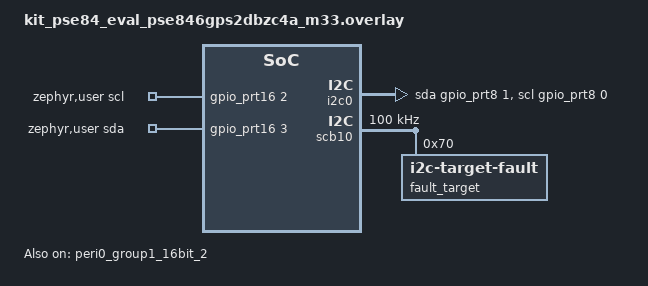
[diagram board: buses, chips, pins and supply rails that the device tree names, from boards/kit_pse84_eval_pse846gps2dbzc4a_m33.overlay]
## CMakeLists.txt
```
# SPDX-FileCopyrightText: Copyright The Zephyr Project Contributors
# SPDX-License-Identifier: Apache-2.0

cmake_minimum_required(VERSION 3.28.0)

find_package(Zephyr REQUIRED HINTS $ENV{ZEPHYR_BASE})
project(i2c_fault_injection)

target_sources(app PRIVATE
  src/bus_force.c
  src/i2c_timing.c
  src/main.c
  src/test_addr.c
  src/test_api_misuse.c
  src/test_arbitration.c
  src/test_data.c
  src/test_integrity.c
  src/test_liveness.c
  src/test_recovery.c
  src/test_stretch.c
  src/test_timing.c
)
```

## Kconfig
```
# SPDX-FileCopyrightText: Copyright The Zephyr Project Contributors
# SPDX-License-Identifier: Apache-2.0

mainmenu "I2C fault injection test"

config I2C_FAULT_TEST_ABSENT_ADDR
	hex "7-bit address that nothing on the bus answers"
	default 0x00
	range 0x00 0x77
	help
	  Address the address-phase conditions transfer to. The default of
	  0x00 is a sentinel meaning "discover one at run time", which scans
	  0x08 through 0x77 and takes the first address that does not answer.

	  Set a value to pin the address instead, which is useful where
	  probing would disturb a device on the bus or where the startup time
	  of the scan matters. Whichever source supplies it, the suite
	  verifies the address is silent before trusting it and fails setup
	  naming it if it answers.

	  This is deliberately not a devicetree property. Devicetree
	  describes what is present on a bus, and this is by definition what
	  is absent.

config I2C_FAULT_TEST_PRESENT_ADDR
	hex "7-bit address used for the known-good transfers"
	default 0x00
	range 0x00 0x77
	help
	  Address the suite transfers to when it needs to show that the bus
	  still works. The default of 0x00 means "discover one at run time",
	  which prefers the fault target where one is present and otherwise
	  takes the first address that answers.

	  Only the zero-length probe is ever sent to a discovered address, so
	  an unknown device on the bus is not written to.

config I2C_FAULT_TEST_ABSENT_ADDR_10BIT
	hex "10-bit address that nothing on the bus answers"
	default 0x2AA
	range 0x000 0x3FF
	help
	  Address used by the 10-bit addressing condition. The 10-bit space
	  is effectively unpopulated in practice, so a fixed default is
	  defensible here; it is validated by the same probe before use.

config I2C_FAULT_TEST_BUS_FAULT_WIRED
	bool "The line-forcing GPIOs are physically jumpered to the bus"
	help
	  Declares that the pins named by sda-gpios and scl-gpios under the
	  zephyr,user node are wired to the controller's own SDA and SCL
	  nets. Set by the twister scenario carrying the i2c_bus_fault
	  fixture.

	  A devicetree property says which pins would be used, not that a
	  jumper is fitted. Without this the hang, recovery and clock-hold
	  conditions skip, because running them against disconnected pins
	  produces failures indistinguishable from driver defects.

config I2C_FAULT_TEST_MAX_BUS_TIMEOUTS
	int "Consecutive transfer timeouts before the bus is judged broken"
	default 3
	range 1 100
	help
	  A NACK is an answer and costs nothing. A timeout means the transfer
	  never completed, which is a wiring or bus fault rather than a
	  property of the address, and each one costs
	  CONFIG_I2C_TRANSFER_TIMEOUT_MS.

	  After this many in a row the suite stops probing and skips the
	  remaining conditions, rather than spending that timeout on every
	  address and every test and reporting results that cannot mean
	  anything.

config I2C_FAULT_TEST_RELAXED_ERRNO
	bool "Accept any negative errno from a failed transfer"
	help
	  The I2C API documents -EIO for a failed transfer and the existing
	  upstream suites assert that exact value, so it is what this suite
	  requires by default. Enable this to accept any negative value
	  instead, which is useful when bringing up a driver that is not yet
	  conformant. In both modes the value each driver returned is logged
	  per fault class.

config I2C_FAULT_TEST_TIMING_ASSERT
	bool "Fail the run on a timing measurement outside its bounds"
	help
	  Timing measurements are diagnostic by default: they are printed
	  with their expected range and a value outside it is marked in the
	  log but does not fail the run. Enable this to turn them into
	  assertions, which is appropriate when characterising one known
	  board rather than running across many.

config I2C_FAULT_TEST_UNSAFE_API_MISUSE
	bool "Run the API misuse conditions that may fault the CPU"
	help
	  Enables the condition that passes a NULL buffer with a non-zero
	  length. Outside userspace the I2C API performs no validation on
	  that path, so a driver is free to dereference the pointer or hand
	  it to a DMA engine, which can fault the CPU and end the run rather
	  than report a result. Off by default for that reason.

config I2C_FAULT_TEST_TIMEOUT_MS
	int "Upper bound in milliseconds for a single faulted transfer"
	default 2000
	range 100 30000
	help
	  A transfer that meets a fault must still return within this bound.
	  Transfers run on a worker thread that the test thread waits on with
	  this timeout, so a driver that never returns is reported as a hang
	  rather than exhausting the twister timeout, which is
	  indistinguishable from a build or flash problem.

config I2C_FAULT_TEST_WORKER_STACK_SIZE
	int "Stack size in bytes for the bounded-transfer worker thread"
	default 2048
	range 512 8192
	help
	  Stack for the thread that faulted transfers run on. It calls
	  nothing deeper than the I2C driver, so the default is generous for
	  most platforms.

config I2C_FAULT_TEST_PAYLOAD_LEN
	int "Bytes transferred by the data-phase conditions"
	default 8
	range 4 64
	help
	  Length of the transfers the data-phase conditions use. It must be
	  at least four so that a fault can be placed at the first byte, at a
	  middle byte and at the last byte and land on three distinct
	  positions. It must not exceed the size of the fault target buffer.

config I2C_FAULT_TEST_LONG_PAYLOAD_LEN
	int "Bytes transferred by the timing and contention conditions"
	default 32
	range 8 256
	help
	  Length of the transfers used to measure the bus rate and to hold
	  the bus long enough for a second controller to attempt one of its
	  own. Longer is more accurate for the timing measurements and gives
	  a wider contention window, at the cost of run time.

config I2C_FAULT_TEST_REPEAT_COUNT
	int "Attempts made by the repeated-fault conditions"
	default 5
	range 2 100
	help
	  Number of times a fault is repeated when checking that a driver
	  does not latch state from the first failure.

config I2C_FAULT_TEST_CONTENTION_ROUNDS
	int "Rounds run by the two-controller contention condition"
	default 100
	range 10 1000
	help
	  Number of times two controllers are released onto the bus together
	  to contend for it. Rounds where the two happen to run one after the
	  other produce no arbitration, so more rounds raise the number that
	  do.

config I2C_FAULT_TEST_STRESS_CYCLES
	int "Fault-and-recover cycles run by the stress condition"
	default 20
	range 2 500
	help
	  Number of fault-and-recover cycles performed while checking that
	  the driver's state does not degrade. One fault leaves little
	  behind; the failures worth catching accumulate.

config I2C_FAULT_TEST_STRETCH_SHORT_US
	int "Clock stretch every driver is expected to tolerate"
	default 200
	range 10 10000
	help
	  Span the fault target holds SCL for in the conditions that must
	  succeed. It is long enough to be measurable against a 100 kHz bus
	  and short enough that no plausible driver times out on it.

config I2C_FAULT_TEST_STRETCH_LONG_US
	int "Clock stretch approaching a typical driver timeout"
	default 5000
	range 100 100000
	help
	  Span used by the condition that sits near the boundary. No outcome
	  is required of it, because drivers set their timeouts differently.

config I2C_FAULT_TEST_STRETCH_EXCESSIVE_US
	int "Clock stretch beyond any plausible driver timeout"
	default 50000
	range 1000 500000
	help
	  Span used by the condition that must produce a bounded error rather
	  than a hang. The stretch is applied by holding SCL through a GPIO
	  and released by a timer, so a long value costs run time but does not
	  occupy the CPU.

config I2C_FAULT_TEST_HOLD_MS
	int "Milliseconds a bus line is held low by the GPIO conditions"
	default 20
	range 1 1000
	help
	  How long SDA or SCL is pulled down through the forcing GPIOs. This
	  is a millisecond-scale operation with no timing requirement: the
	  bus is open drain, so the low wins whatever the controller drives.

config I2C_FAULT_TEST_SCOPE_PAUSE
	bool "Wait for a console keypress before the instrumented conditions"
	select CONSOLE_SUBSYS
	help
	  Halt the run at the start of selected conditions and wait for a
	  character on the console. The condition then runs to completion;
	  there is no second pause.

	  This exists so an oscilloscope can be armed for a single-shot
	  capture at a known point. While the suite waits, no thread is
	  driving the bus, so the first edge after the keypress is the event
	  under investigation and an ordinary edge trigger is unambiguous.
	  Without the pause, the same trigger fires on any of the hundreds of
	  legitimate transfers the run performs first.

	  CONSOLE_GETCHAR must be enabled alongside this symbol. It belongs to
	  an optional choice, which cannot be selected from here, so the two
	  are set together by the scope_pause.conf fragment in this directory.
	  Enabling this symbol without it fails the build rather than silently
	  running without a pause.

	  This makes the suite interactive, so it must not be enabled for an
	  automated run. It is off by default and no scenario in tests.yaml
	  turns it on.

source "Kconfig.zephyr"
```

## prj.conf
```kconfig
CONFIG_ZTEST=y
CONFIG_I2C=y
CONFIG_GPIO=y
CONFIG_I2C_TARGET=y
CONFIG_LOG=y
CONFIG_I2C_LOG_LEVEL_WRN=y
```

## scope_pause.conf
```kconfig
# SPDX-FileCopyrightText: Copyright The Zephyr Project Contributors
# SPDX-License-Identifier: Apache-2.0

# Pause the run at selected conditions so an instrument can be armed for a
# single-shot capture. Build with:
#
#   west build -b <board> tests/drivers/i2c/i2c_fault_injection \
#           -- -DEXTRA_CONF_FILE=scope_pause.conf
#
# CONSOLE_GETCHAR belongs to an optional Kconfig choice and so cannot be
# selected by I2C_FAULT_TEST_SCOPE_PAUSE. The two are set together here
# instead. The suite becomes interactive, so do not use this fragment for an
# automated run.

CONFIG_I2C_FAULT_TEST_SCOPE_PAUSE=y
CONFIG_CONSOLE_SUBSYS=y
CONFIG_CONSOLE_GETCHAR=y
```

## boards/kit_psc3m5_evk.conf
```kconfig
# SPDX-FileCopyrightText: Copyright (c) 2026 Infineon Technologies AG,
# SPDX-FileCopyrightText: or an affiliate of Infineon Technologies AG. All rights reserved.
#
# SPDX-License-Identifier: Apache-2.0

# The CAT1 controller buffers target transfers, and the buffer must hold the
# longest payload the suite sends plus the offset byte.
CONFIG_I2C_INFINEON_CAT1_TARGET_BUF=128
```

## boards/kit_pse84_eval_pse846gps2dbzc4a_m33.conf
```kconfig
# Copyright (c) 2026 Infineon Technologies AG,
# or an affiliate of Infineon Technologies AG. All rights reserved.
#
# SPDX-License-Identifier: Apache-2.0

# The CAT1 controller buffers target transfers, and the buffer must hold the
# longest payload the suite sends plus the offset byte.
CONFIG_I2C_INFINEON_CAT1_TARGET_BUF=128
```

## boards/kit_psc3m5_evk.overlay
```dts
/*
 * SPDX-FileCopyrightText: Copyright (c) 2026 Infineon Technologies AG,
 * SPDX-FileCopyrightText: or an affiliate of Infineon Technologies AG. All rights reserved.
 *
 * SPDX-License-Identifier: Apache-2.0
 */

/*
 * KIT_PSC3M5_EVK wiring for the I2C fault injection suite, tier 2 only. Pin
 * assignments are from kit user guide 002-39385 Rev. *B, Table 3.
 *
 * Controller under test: SCB0 on P9[0] SCL and P9[2] SDA, at J3.10 and J3.9.
 * The kit pulls both lines up to VTARG_REF through 4.7 kOhm (R50, R51), so the
 * bus needs no shield.
 *
 * Fault target controller: SCB4 on P4[2] SCL and P4[1] SDA, at J4.7 and J4.6.
 * The i2c_bus_short fixture requires J4.7 shorted to J3.10 and J4.6 shorted
 * to J3.9. The kit brings these pins out as TCPWM signals with no other
 * onboard function. P4[1] is also the input of the gpio_basic_api loopback
 * (J4.4 to J4.6); remove that jumper before wiring this rig.
 *
 * The other free I2C pin options are taken: P1[2]/P1[3] are the SWD pins,
 * P2[1]/P2[2] carry TDO and DFU_SW1, P3[2] is the mikroBUS UART RX, and SCB5
 * on P8[1]/P8[3] is the SPI flash controller in the norflash variant.
 */

#include <zephyr/dt-bindings/i2c/i2c.h>

/ {
	aliases {
		i2c-dut = &i2c0;
	};
};

/* Controller carrying the fault target. */
i2c4: &scb4 {
	compatible = "infineon,i2c";
	#address-cells = <1>;
	#size-cells = <0>;
	status = "okay";

	clock-frequency = <I2C_BITRATE_STANDARD>;
	clocks = <&peri0_group4_8bit_1>;

	pinctrl-0 = <&p4_2_scb4_i2c_scl &p4_1_scb4_i2c_sda>;
	pinctrl-names = "default";

	/*
	 * Per Table 3 the DUT bus reaches only the KitProg3 I2C bridge and the
	 * expansion headers, so 0x70 is free with no shield fitted.
	 */
	fault_target: fault-target@70 {
		compatible = "zephyr,i2c-target-fault";
		reg = <0x70>;
		size = <32>;
	};
};

/* The I2C driver reprograms the divider at init; the value here is a start. */
&peri0_group4_8bit_1 {
	status = "okay";
	clock-div = <10>;
};

&p4_2_scb4_i2c_scl {
	drive-open-drain;
	input-enable;
};

&p4_1_scb4_i2c_sda {
	drive-open-drain;
	input-enable;
};
```

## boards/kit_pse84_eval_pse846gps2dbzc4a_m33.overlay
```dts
/*
 * Copyright (c) 2026 Infineon Technologies AG,
 * or an affiliate of Infineon Technologies AG. All rights reserved.
 *
 * SPDX-License-Identifier: Apache-2.0
 */

/*
 * KIT_PSE84_EVAL wiring for the I2C fault injection suite.
 *
 * Every connection lands on the Arduino header J3, and every pin there sits
 * on the VDD_PERI domain, so no jumper needs moving and no level shifting
 * happens between them. Pin assignments are from kit user guide 002-39007
 * Rev. *B, Table 2.
 *
 * Controller under test: SCB0 on P8[0] SCL and P8[1] SDA, at J3.10 and J3.9.
 *
 * Fault target controller: SCB10 on P16[0] SCL and P16[1] SDA, at J3.6 and
 * J3.4. The i2c_bus_short fixture requires J3.6 shorted to J3.10 and J3.4
 * shorted to J3.9. This is the controller pairing that
 * samples/i2c_slave_master_test already uses on this board.
 *
 * Line forcing for the i2c_bus_fault fixture: P16[2] and P16[3], at J3.5 and
 * J3.3, which the kit brings out as SPI MISO and SPI CS. Jumper J3.5 to the
 * SCL net and J3.3 to the SDA net.
 *
 * With both fixtures wired at once, each net joins three pins. J3 alone
 * would need two wires on one pin, but the same signals are also brought out
 * on the mikroBUS headers J9 and J17, which are not populated by default.
 * With them fitted, keep the i2c_bus_short jumpers on J3 and add:
 *   - SCL: J9.5 (P16[2], forcing) to J17.5 (P8[0], the same net as J3.10)
 *   - SDA: J9.3 (P16[3], forcing) to J17.6 (P8[1], the same net as J3.9)
 *
 * Do not fit an Arduino shield that uses SPI while these jumpers are in
 * place, and do not wire this rig at the same time as the one for
 * tests/drivers/spi/spi_ram, which claims the same four P16 pins for an
 * FM25W256 F-RAM. With an SPI device on the net, I2C traffic on SDA would
 * assert its chip select through P16[3] and its MISO output would then drive
 * against the open-drain bus through P16[2].
 *
 * P7[0] and P7[1] at J40 were considered for the forcing pins and rejected.
 * They are a fixed 1.8 V domain while the J3 pins follow VDD_PERI, which
 * defaults to 3.3 V (Table 10), so using them would require moving J23.
 */

#include <zephyr/dt-bindings/gpio/gpio.h>
#include <zephyr/dt-bindings/i2c/i2c.h>

/ {
	aliases {
		i2c-dut = &i2c0;
		i2c-fault-contender = &bosch_bmi270;
	};

	zephyr,user {
		scl-gpios = <&gpio_prt16 2 GPIO_ACTIVE_HIGH>;
		sda-gpios = <&gpio_prt16 3 GPIO_ACTIVE_HIGH>;
	};
};

/*
 * SCB0 is the controller under test. The board's own devicetree already
 * enables it as i2c0 on P8[0] and P8[1], sets its clock and declares the
 * BMI270 at 0x68 on it, so none of that is restated here. Overriding its
 * clock would change a rate the board chose deliberately.
 *
 * The recovery pins named below are the bus pins themselves, not spare GPIOs
 * and not the forcing pins declared under zephyr,user. Recovery switches
 * P8[0] and P8[1] from the SCB to GPIO, bit-bangs the release sequence, and
 * restores the default pin state, so it needs no wiring and claims nothing
 * the SCB is using at the time.
 *
 * Naming them is what enables CONFIG_I2C_INFINEON_BUS_RECOVERY, which is
 * gated on both properties being present on an infineon,i2c node. Without
 * them the controller reports -ENOSYS and the recovery conditions skip.
 */
&i2c0 {
	scl-gpios = <&gpio_prt8 0 GPIO_OPEN_DRAIN>;
	sda-gpios = <&gpio_prt8 1 GPIO_OPEN_DRAIN>;
};

/* Controller carrying the fault target. */
i2c10: &scb10 {
	compatible = "infineon,i2c";
	#address-cells = <1>;
	#size-cells = <0>;
	status = "okay";

	clock-frequency = <I2C_BITRATE_STANDARD>;
	clocks = <&peri0_group1_16bit_2>;

	pinctrl-0 = <&p16_0_scb10_i2c_scl &p16_1_scb10_i2c_sda>;
	pinctrl-names = "default";

	/*
	 * 0x70 is clear of every address populated on the kit, which are
	 * 0x08, 0x15, 0x18, 0x38, 0x45, 0x68 and 0x69 per Table 33. It must
	 * also sit above the BMI270 at 0x68, which the contention condition
	 * addresses from this controller so that SCB0 is the one to lose
	 * arbitration.
	 */
	fault_target: fault-target@70 {
		compatible = "zephyr,i2c-target-fault";
		reg = <0x70>;
		size = <32>;
	};
};

&peri0_group1_16bit_2 {
	status = "okay";
	clock-div = <10>;
};

&gpio_prt16 {
	status = "okay";
};

&p16_0_scb10_i2c_scl {
	drive-open-drain;
	input-enable;
};

&p16_1_scb10_i2c_sda {
	drive-open-drain;
	input-enable;
};
```

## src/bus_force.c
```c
/*
 * SPDX-FileCopyrightText: Copyright The Zephyr Project Contributors
 * SPDX-License-Identifier: Apache-2.0
 */

#include <errno.h>

#include <zephyr/devicetree.h>
#include <zephyr/drivers/gpio.h>
#include <zephyr/kernel.h>

#include "bus_force.h"

#define ZEPHYR_USER_NODE DT_PATH(zephyr_user)

static const struct gpio_dt_spec sda =
	GPIO_DT_SPEC_GET_OR(ZEPHYR_USER_NODE, sda_gpios, {0});
static const struct gpio_dt_spec scl =
	GPIO_DT_SPEC_GET_OR(ZEPHYR_USER_NODE, scl_gpios, {0});

static void pulse_expiry(struct k_timer *timer);

static K_TIMER_DEFINE(pulse_timer, pulse_expiry, NULL);
static K_SEM_DEFINE(pulse_done, 0, 1);

bool bus_force_available(void)
{
	/*
	 * A devicetree property says which pins would be used, not that a
	 * jumper is fitted. Running the hang and recovery conditions against
	 * disconnected pins produces failures that look like driver defects,
	 * so the wiring must be declared explicitly by the twister scenario
	 * that carries the i2c_bus_fault fixture.
	 */
	if (!IS_ENABLED(CONFIG_I2C_FAULT_TEST_BUS_FAULT_WIRED)) {
		return false;
	}

	return (sda.port != NULL) && (scl.port != NULL) &&
	       gpio_is_ready_dt(&sda) && gpio_is_ready_dt(&scl);
} /* bus_force_available() */

/* Select the pin backing a line, or NULL when the line names both. */
static const struct gpio_dt_spec *line_pin(enum bus_force_line line)
{
	if (line == BUS_FORCE_SDA) {
		return &sda;
	}

	if (line == BUS_FORCE_SCL) {
		return &scl;
	}

	return NULL;
} /* line_pin() */

int bus_force_arm(enum bus_force_line line)
{
	const struct gpio_dt_spec *pin = line_pin(line);

	if (!bus_force_available()) {
		return -ENODEV;
	}

	if (pin == NULL) {
		return -EINVAL;
	}

	return gpio_pin_configure_dt(pin, GPIO_OUTPUT_ACTIVE);
} /* bus_force_arm() */

void bus_force_assert_low(enum bus_force_line line)
{
	const struct gpio_dt_spec *pin = line_pin(line);

	if (pin != NULL) {
		(void)gpio_pin_set_dt(pin, 0);
	}
} /* bus_force_assert_low() */

/*
 * Release the pulsed line. Runs in the system timer's context, so it does
 * nothing but write the pin and signal the waiter.
 */
static void pulse_expiry(struct k_timer *timer)
{
	enum bus_force_line line =
		(enum bus_force_line)POINTER_TO_UINT(k_timer_user_data_get(timer));
	const struct gpio_dt_spec *pin = line_pin(line);

	if (pin != NULL) {
		(void)gpio_pin_set_dt(pin, 1);
	}

	k_sem_give(&pulse_done);
} /* pulse_expiry() */

void bus_force_pulse_low(enum bus_force_line line, uint32_t span_us)
{
	const struct gpio_dt_spec *pin = line_pin(line);

	if (pin == NULL) {
		return;
	}

	k_sem_reset(&pulse_done);
	k_timer_user_data_set(&pulse_timer, UINT_TO_POINTER((uint32_t)line));
	(void)gpio_pin_set_dt(pin, 0);
	k_timer_start(&pulse_timer, K_USEC(span_us), K_NO_WAIT);
} /* bus_force_pulse_low() */

int bus_force_pulse_wait(uint32_t timeout_ms)
{
	return k_sem_take(&pulse_done, K_MSEC(timeout_ms));
} /* bus_force_pulse_wait() */

/*
 * Both pins start as inputs. A pin only becomes an output for as long as a
 * line is held low, so the helper contributes nothing to the bus at rest and
 * an aborted test cannot leave the bus stuck.
 */
int bus_force_init(void)
{
	int ret;

	if (!bus_force_available()) {
		return 0;
	}

	ret = gpio_pin_configure_dt(&sda, GPIO_INPUT);
	if (ret < 0) {
		return ret;
	}

	return gpio_pin_configure_dt(&scl, GPIO_INPUT);
} /* bus_force_init() */

/* Drive one pin to a hard low. The open-drain bus turns that into a hold. */
static int hold_low(const struct gpio_dt_spec *pin)
{
	int ret;

	ret = gpio_pin_configure_dt(pin, GPIO_OUTPUT_INACTIVE);
	if (ret < 0) {
		return ret;
	}

	return gpio_pin_set_dt(pin, 0);
} /* hold_low() */

int bus_force_low(enum bus_force_line line)
{
	int ret;

	if (!bus_force_available()) {
		return -ENODEV;
	}

	if ((line == BUS_FORCE_SDA) || (line == BUS_FORCE_BOTH)) {
		ret = hold_low(&sda);
		if (ret < 0) {
			return ret;
		}
	}

	if ((line == BUS_FORCE_SCL) || (line == BUS_FORCE_BOTH)) {
		ret = hold_low(&scl);
		if (ret < 0) {
			return ret;
		}
	}

	return 0;
} /* bus_force_low() */

int bus_force_release(void)
{
	int ret;

	if (!bus_force_available()) {
		return -ENODEV;
	}

	ret = gpio_pin_configure_dt(&sda, GPIO_INPUT);
	if (ret < 0) {
		return ret;
	}

	return gpio_pin_configure_dt(&scl, GPIO_INPUT);
} /* bus_force_release() */

int bus_force_level(enum bus_force_line line)
{
	const struct gpio_dt_spec *pin = line_pin(line);
	int ret;

	if (!bus_force_available()) {
		return -ENODEV;
	}

	if (pin == NULL) {
		return -EINVAL;
	}

	/*
	 * Sampling a pin that is currently driving the line low would read
	 * back the drive rather than the bus, so the pin is put back to an
	 * input first. The caller must not be holding the line it samples.
	 */
	ret = gpio_pin_configure_dt(pin, GPIO_INPUT);
	if (ret < 0) {
		return ret;
	}

	return gpio_pin_get_dt(pin);
} /* bus_force_level() */
```

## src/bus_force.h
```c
/*
 * SPDX-FileCopyrightText: Copyright The Zephyr Project Contributors
 * SPDX-License-Identifier: Apache-2.0
 */

/*
 * Holding SDA or SCL low through spare GPIO pins jumpered to the bus.
 *
 * This is a millisecond-scale operation and demands no timing precision.
 * Because the bus is open drain the low always wins, so a pin pulled low
 * anywhere on the net stalls the controller under test no matter what it is
 * driving. Nothing here counts clock edges or meets a bit deadline.
 *
 * The pins named by the zephyr,user node must be spare GPIOs wired to the
 * controller's own SDA and SCL nets, and must be declared GPIO_ACTIVE_HIGH so
 * that a logical zero is a physical low.
 */

#ifndef BUS_FORCE_H_
#define BUS_FORCE_H_

#include <stdbool.h>

/** Lines the helper can hold low. */
enum bus_force_line {
	BUS_FORCE_SDA,
	BUS_FORCE_SCL,
	BUS_FORCE_BOTH,
};

/** True when the board wired both forcing GPIOs. */
bool bus_force_available(void);

/**
 * Configure a line as a released output so a later assertion is ISR-safe.
 *
 * Once armed, bus_force_assert_low() does nothing but write the pin, which
 * makes it usable from a target callback. Reserved for the conditions that
 * must pull a line down from inside a live transaction.
 *
 * @param line line to arm, BUS_FORCE_SDA or BUS_FORCE_SCL.
 *
 * @retval 0 on success.
 * @retval -ENODEV if the board provides no forcing GPIOs.
 * @retval negative errno from the GPIO driver otherwise.
 */
int bus_force_arm(enum bus_force_line line);

/**
 * Pull an armed line low with a single pin write.
 *
 * Safe to call from interrupt context, unlike bus_force_low(), which
 * reconfigures the pin. The line must have been armed by bus_force_arm().
 *
 * @param line line to pull down, BUS_FORCE_SDA or BUS_FORCE_SCL.
 */
void bus_force_assert_low(enum bus_force_line line);

/**
 * Pull an armed line low now and release it after @p span_us.
 *
 * Safe to call from interrupt context: it writes the pin and starts a timer,
 * and does not wait. This is how the suite produces a clock stretch at a
 * chosen byte. Holding SCL by declining to return from a target callback
 * would do the same thing electrically, but those callbacks run in interrupt
 * context on most controllers, where waiting is not permissible.
 *
 * The line must have been armed by bus_force_arm().
 *
 * @param line    line to pull down, BUS_FORCE_SDA or BUS_FORCE_SCL.
 * @param span_us how long to hold it, in microseconds.
 */
void bus_force_pulse_low(enum bus_force_line line, uint32_t span_us);

/**
 * Wait for a pulse started by bus_force_pulse_low() to finish.
 *
 * @param timeout_ms longest time to wait.
 *
 * @retval 0 if the line was released.
 * @retval -ETIMEDOUT if it was not, which leaves the bus held.
 */
int bus_force_pulse_wait(uint32_t timeout_ms);

/**
 * Configure the forcing GPIOs and leave both lines released.
 *
 * @retval 0 on success, or when the board provides no forcing GPIOs.
 * @retval negative errno from the GPIO driver otherwise.
 */
int bus_force_init(void);

/**
 * Hold @p line low until bus_force_release() is called.
 *
 * @param line line or lines to pull down.
 *
 * @retval 0 on success.
 * @retval -ENODEV if the board provides no forcing GPIOs.
 * @retval negative errno from the GPIO driver otherwise.
 */
int bus_force_low(enum bus_force_line line);

/**
 * Release both lines back to high impedance.
 *
 * @retval 0 on success.
 * @retval -ENODEV if the board provides no forcing GPIOs.
 * @retval negative errno from the GPIO driver otherwise.
 */
int bus_force_release(void);

/**
 * Read the level of @p line without disturbing it.
 *
 * @param line line to sample, BUS_FORCE_SDA or BUS_FORCE_SCL.
 *
 * @retval 0 or 1 for the level read.
 * @retval -ENODEV if the board provides no forcing GPIOs.
 * @retval negative errno from the GPIO driver otherwise.
 */
int bus_force_level(enum bus_force_line line);

#endif /* BUS_FORCE_H_ */
```

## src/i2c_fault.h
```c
/*
 * SPDX-FileCopyrightText: Copyright The Zephyr Project Contributors
 * SPDX-License-Identifier: Apache-2.0
 */

/*
 * Shared state and helpers for the I2C fault injection suite.
 *
 * The suite is split across one file per fault class, and every one of them
 * needs the same three things: the controller under test, an address that
 * nothing on the bus answers, and a way to assert that a faulted transfer
 * failed rather than hung. They are established once in main.c and reached
 * from here.
 */

#ifndef I2C_FAULT_H_
#define I2C_FAULT_H_

#include <stdbool.h>
#include <stdint.h>

#include <zephyr/device.h>
#include <zephyr/devicetree.h>
#include <zephyr/drivers/i2c.h>
#include <zephyr/ztest.h>

/* Defines struct i2c_fault_outcome, which the bounded helpers below return. */
#include "i2c_timing.h"

/* Controller under test. Every board supporting the suite provides this. */
#define I2C_FAULT_DUT_NODE DT_ALIAS(i2c_dut)

BUILD_ASSERT(DT_NODE_HAS_STATUS_OKAY(I2C_FAULT_DUT_NODE),
	     "the i2c-dut alias must name an enabled I2C controller");

/* Fault target, present only on boards wired for the i2c_bus_short fixture. */
#define I2C_FAULT_HAS_TARGET DT_HAS_COMPAT_STATUS_OKAY(zephyr_i2c_target_fault)

#if I2C_FAULT_HAS_TARGET
#define I2C_FAULT_TARGET_NODE                                                  \
	DT_COMPAT_GET_ANY_STATUS_OKAY(zephyr_i2c_target_fault)
#endif

/*
 * Second fault target, used only by the condition that puts two targets on
 * one address. Boards providing it declare the "i2c-fault-target-2" alias.
 */
#define I2C_FAULT_HAS_TARGET2                                                  \
	DT_NODE_HAS_STATUS_OKAY(DT_ALIAS(i2c_fault_target_2))

/*
 * Device the second controller addresses in the contention condition, named
 * by the "i2c-fault-contender" alias. It must sit on the bus under test and
 * answer its address. Arbitration is decided in the address phase and the
 * lower address wins, so its address must also be below the fault target's
 * for the controller under test to be the one that loses.
 */
#define I2C_FAULT_HAS_CONTENDER                                                \
	DT_NODE_HAS_STATUS_OKAY(DT_ALIAS(i2c_fault_contender))

#if I2C_FAULT_HAS_CONTENDER
#define I2C_FAULT_CONTENDER_NODE DT_ALIAS(i2c_fault_contender)
#define I2C_FAULT_CONTENDER_ADDR                                               \
	((uint16_t)DT_REG_ADDR(I2C_FAULT_CONTENDER_NODE))

BUILD_ASSERT(DT_SAME_NODE(DT_BUS(I2C_FAULT_CONTENDER_NODE),
			  I2C_FAULT_DUT_NODE),
	     "the i2c-fault-contender alias must name a device on the "
	     "i2c-dut bus");
#endif

/* Payload length the data-phase conditions transfer. */
#define I2C_FAULT_PAYLOAD_LEN CONFIG_I2C_FAULT_TEST_PAYLOAD_LEN

/** Capabilities discovered at setup, and the addresses the suite settled on. */
struct i2c_fault_ctx {
	/** Controller under test. */
	const struct device *dut;
	/** Address on the device under test bus that nothing answers. */
	uint16_t absent_addr;
	/** Address that answers, used for the known-good transfers. */
	uint16_t present_addr;
	/** Set when a present address was found or configured. */
	bool have_present;
	/** Fault target device, or NULL when the board has none. */
	const struct device *target;
	/** Controller the fault target is registered on. */
	const struct device *target_bus;
	/** Address the fault target answers. */
	uint16_t target_addr;
	/**
	 * Set once the target is registered on its controller. This does not
	 * imply the target can refuse anything; see target_ready. Nor does it
	 * imply the controller under test can reach it; see target_reachable.
	 */
	bool target_registered;
	/**
	 * Set once the target has answered the controller under test.
	 *
	 * Registration is a fact about software: some controller accepted a
	 * target configuration. This is the fact about the bus, and it is the
	 * one every condition that addresses the target depends on. On a rig
	 * where the two controllers are not wired together, a target can be
	 * registered and answer nothing.
	 */
	bool target_reachable;
	/**
	 * Set once the target is registered and the injector self-test has
	 * shown that arming a fault changes what the controller sees.
	 */
	bool target_ready;
	/** Set when the target sits on a controller other than the DUT. */
	bool target_is_second_controller;
	/** Set when zephyr,user supplies the SDA and SCL forcing GPIOs. */
	bool bus_force_ready;
	/**
	 * Set once the bus has failed to complete enough consecutive
	 * transfers that it is judged broken rather than merely faulted.
	 * A NACK is an answer; a timeout means nothing is completing, which
	 * is a wiring or bus fault and makes every later result meaningless.
	 */
	bool bus_unusable;
	/** Set once a transfer has failed to return within the time bound. */
	bool hang_detected;
};

const struct i2c_fault_ctx *i2c_fault_ctx(void);

void *i2c_fault_setup(void);
void i2c_fault_before(void *fixture);
void i2c_fault_after(void *fixture);

/** Probe an address with the canonical zero-length write. */
int i2c_fault_probe(const struct device *bus, uint16_t addr);

/** Skip the running test unless the fault target is usable. */
void i2c_fault_require_target(void);

/**
 * Skip the running test unless the fault target answers the controller under
 * test.
 *
 * Weaker than i2c_fault_require_target(), which additionally requires that
 * the target can refuse a byte. The M7 and contention conditions do not need
 * a refusal, but they do address the target on the bus, so registration on
 * its own is not enough: on a rig where the two controllers are not wired
 * together the target is registered and answers nothing.
 */
void i2c_fault_require_target_reachable(void);

/** Skip the running test unless the line-forcing GPIOs are wired. */
void i2c_fault_require_bus_force(void);

/** Skip the running test unless a known-good address is available. */
void i2c_fault_require_present(void);

/**
 * Withdraw the fault target so its address stops answering.
 *
 * Mechanism M7. Unregistering makes a device that was present a moment ago
 * NACK its address, which is a fault against a present device and needs
 * nothing of the controller beyond the target registration API itself. It is
 * therefore available on controllers whose byte callbacks cannot refuse
 * anything.
 *
 * @retval 0 on success.
 * @retval -ENOSYS if the board has no fault target.
 * @retval negative errno from i2c_target_unregister() otherwise.
 */
int i2c_fault_target_withdraw(void);

/**
 * Restore a target withdrawn by i2c_fault_target_withdraw().
 *
 * @retval 0 on success.
 * @retval -ENOSYS if the board has no fault target.
 * @retval negative errno from i2c_target_register() otherwise.
 */
int i2c_fault_target_restore(void);

/**
 * Assert that @p ret reports a failed transfer.
 *
 * The I2C API documents -EIO for a failed transfer and the existing suites
 * assert that exact value, so it is what this requires by default.
 * CONFIG_I2C_FAULT_TEST_RELAXED_ERRNO weakens it to any negative value for
 * bringing up a driver that is not yet conformant. Either way the value is
 * recorded, because collecting what drivers actually return is one of the
 * outputs of this suite.
 */
void i2c_fault_assert_error(int ret, const char *condition);

/** Record the value a driver returned without asserting anything about it. */
void i2c_fault_record(const char *condition, int ret);

/** Assert that a known-good transfer still succeeds. */
void i2c_fault_assert_healthy(const char *condition);

/**
 * Report whether the bus is usable, without asserting anything.
 *
 * Same check as i2c_fault_assert_healthy() and through the same bounded
 * harness, but for a condition whose measurement is only meaningful on a
 * working bus and which should skip rather than fail when an earlier
 * condition has already left it unusable. Reporting one defect twice tells a
 * reader nothing and obscures which condition found it.
 *
 * @return true if a probe of the known-good address still answers, or, where
 *         the board has no known-good address, if the absent address still
 *         refuses.
 */
bool i2c_fault_bus_healthy(void);

/**
 * Wait for a console keypress so an instrument can be armed.
 *
 * Compiles to nothing unless CONFIG_I2C_FAULT_TEST_SCOPE_PAUSE is set. While
 * the suite waits, no thread drives the bus, so the first edge after the
 * keypress is the event under investigation. That is what makes a plain
 * single-shot edge trigger usable: without the silence, the same trigger
 * fires on any of the hundreds of legitimate transfers performed first.
 *
 * Call it as the first statement of a condition, before any bus activity
 * that condition performs.
 *
 * No call sites are kept in the tree. A pause belongs to one investigation,
 * so it is added where it is wanted and removed once that question is
 * answered, rather than left behind for a later reader to puzzle over. See
 * README.rst.
 *
 * @param what identifier of the condition, named in the console prompt.
 */
void i2c_fault_scope_pause(const char *what);

/** Fill @p buf with an incrementing pattern. */
void i2c_fault_fill(uint8_t *buf, size_t len, uint8_t seed);

/**
 * Callback table for a target registered only to check that registration
 * works.
 *
 * Some controllers call into the table unconditionally when an event
 * arrives, so a table of NULL pointers would fault a conforming driver. These
 * accept everything and refuse nothing.
 */
extern const struct i2c_target_callbacks i2c_fault_noop_callbacks;

/** Largest message count the bounded harness can pin for a transfer. */
#define I2C_FAULT_MAX_MSGS 4

/** A transfer described well enough to be handed to the bounded harness. */
struct i2c_fault_xfer {
	const struct device *bus;
	uint16_t addr;
	struct i2c_msg *msgs;
	uint8_t num_msgs;
};

/**
 * Job entry point that performs an @ref i2c_fault_xfer.
 *
 * Faulted transfers run on the bounded harness worker rather than in the
 * test thread, so that a driver which never returns is reported as a hang
 * instead of stalling the whole run.
 */
int i2c_fault_xfer_job(void *arg);

/**
 * Run a transfer on the bounded harness and fail the test if it hangs.
 *
 * The message array is copied into storage the harness owns, because a job
 * that outruns the bound is left running and the controller may still be
 * walking the descriptors after the test thread has unwound its stack. The
 * data buffers the messages point at are not copied and must therefore
 * outlive the run; the suite uses file-scope buffers for that reason.
 *
 * @param[in]  xfer      transfer to perform, at most @ref I2C_FAULT_MAX_MSGS
 *                       messages.
 * @param[in]  condition condition identifier used in the failure message.
 * @param[out] out       result and elapsed time.
 */
void i2c_fault_transfer_bounded(const struct i2c_fault_xfer *xfer,
				const char *condition,
				struct i2c_fault_outcome *out);

/**
 * Hand a transfer to the bounded harness without waiting for it.
 *
 * Same storage rules as i2c_fault_transfer_bounded(). Must be paired with
 * i2c_timing_collect().
 *
 * @param xfer transfer to perform.
 *
 * @retval 0 on success.
 * @retval -ETIMEDOUT if an earlier job never returned.
 */
int i2c_fault_transfer_submit(const struct i2c_fault_xfer *xfer);

/**
 * Run a write-read on the bounded harness and fail the test if it hangs.
 *
 * @param[in]  addr      target address.
 * @param[in]  wr        bytes to write, must outlive the run.
 * @param[in]  wr_len    number of bytes to write.
 * @param[out] rd        storage for the bytes read, must outlive the run.
 * @param[in]  rd_len    number of bytes to read.
 * @param[in]  condition condition identifier used in the failure message.
 * @param[out] out       result and elapsed time.
 */
void i2c_fault_write_read_bounded(uint16_t addr, uint8_t *wr, size_t wr_len,
				  uint8_t *rd, size_t rd_len,
				  const char *condition,
				  struct i2c_fault_outcome *out);

#endif /* I2C_FAULT_H_ */
```

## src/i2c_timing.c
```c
/*
 * SPDX-FileCopyrightText: Copyright The Zephyr Project Contributors
 * SPDX-License-Identifier: Apache-2.0
 */

#include <errno.h>

#include <zephyr/kernel.h>
#include <zephyr/sys/util.h>
#include <zephyr/ztest.h>

#include "i2c_fault.h"
#include "i2c_timing.h"

static K_THREAD_STACK_DEFINE(worker_stack,
			     CONFIG_I2C_FAULT_TEST_WORKER_STACK_SIZE);
static struct k_thread worker_thread;
static K_SEM_DEFINE(work_ready, 0, 1);
static K_SEM_DEFINE(work_done, 0, 1);

static i2c_fault_job_fn job_fn;
static void *job_arg;
static int job_ret;
static struct i2c_timing_span job_span;
static bool harness_started;
static bool harness_stuck;

void i2c_timing_begin(struct i2c_timing_span *span)
{
	span->start = k_cycle_get_32();
	span->end = span->start;
} /* i2c_timing_begin() */

void i2c_timing_end(struct i2c_timing_span *span)
{
	span->end = k_cycle_get_32();
} /* i2c_timing_end() */

uint32_t i2c_timing_us(const struct i2c_timing_span *span)
{
	uint32_t elapsed = span->end - span->start;

	return (uint32_t)k_cyc_to_us_floor64((uint64_t)elapsed);
} /* i2c_timing_us() */

void i2c_timing_report(const char *what, uint32_t value, const char *unit)
{
	TC_PRINT("  measured %s: %u %s\n", what, value, unit);
} /* i2c_timing_report() */

/*
 * The worker runs one job per work_ready token and never exits, so the cost
 * of thread creation is paid once for the whole suite. A job that hangs
 * leaves this loop parked inside the controller driver, which is exactly the
 * state i2c_timing_run_bounded() reports and refuses to disturb.
 */
static void worker_entry(void *p1, void *p2, void *p3)
{
	ARG_UNUSED(p1);
	ARG_UNUSED(p2);
	ARG_UNUSED(p3);

	while (true) {
		(void)k_sem_take(&work_ready, K_FOREVER);

		i2c_timing_begin(&job_span);
		job_ret = job_fn(job_arg);
		i2c_timing_end(&job_span);

		k_sem_give(&work_done);
	}
} /* worker_entry() */

void i2c_timing_harness_start(void)
{
	int priority;

	if (harness_started) {
		return;
	}

	/*
	 * The worker runs one priority level below the thread that started it,
	 * and always at a preemptible level.
	 *
	 * Equal priority is not enough. CONFIG_ZTEST_THREAD_PRIORITY defaults
	 * to -1, which is cooperative, and two cooperative threads at the same
	 * priority never preempt one another: the worker would run only when
	 * it blocked. Most drivers do block, so the transfer thread yields and
	 * the arrangement happens to work, but a driver that polls the bus
	 * rather than sleeping on it would hold the CPU for the whole
	 * transfer. The conditions that must act while a transfer is in flight
	 * need the test thread to be able to take the CPU back.
	 */
	priority = k_thread_priority_get(k_current_get()) + 1;
	if (priority < 0) {
		priority = 0;
	}

	(void)k_thread_create(&worker_thread, worker_stack,
			      K_THREAD_STACK_SIZEOF(worker_stack),
			      worker_entry, NULL, NULL, NULL, priority, 0,
			      K_NO_WAIT);
	(void)k_thread_name_set(&worker_thread, "i2c_fault_worker");

	harness_started = true;
} /* i2c_timing_harness_start() */

int i2c_timing_submit(i2c_fault_job_fn fn, void *arg)
{
	if (harness_stuck) {
		return -ETIMEDOUT;
	}

	job_fn = fn;
	job_arg = arg;
	k_sem_give(&work_ready);

	return 0;
} /* i2c_timing_submit() */

int i2c_timing_collect(struct i2c_fault_outcome *out)
{
	uint32_t bound_ms = (uint32_t)CONFIG_I2C_FAULT_TEST_TIMEOUT_MS;

	out->ret = 0;
	out->elapsed_us = 0U;
	out->start_cycles = 0U;
	out->end_cycles = 0U;
	out->timed_out = false;

	if (harness_stuck || (k_sem_take(&work_done, K_MSEC(bound_ms)) != 0)) {
		harness_stuck = true;
		out->timed_out = true;
		out->elapsed_us = bound_ms * USEC_PER_MSEC;
		return -ETIMEDOUT;
	}

	out->ret = job_ret;
	out->elapsed_us = i2c_timing_us(&job_span);
	out->start_cycles = job_span.start;
	out->end_cycles = job_span.end;

	return 0;
} /* i2c_timing_collect() */

/*
 * Interval intersection on a counter that wraps.
 *
 * Both intervals are recent and short relative to the counter period, so the
 * unsigned difference from a common origin orders them correctly even across
 * a wrap. Taking the earlier start as that origin keeps both spans positive.
 */
bool i2c_timing_overlapped(uint32_t a_start, uint32_t a_end, uint32_t b_start,
			   uint32_t b_end)
{
	uint32_t origin = ((int32_t)(a_start - b_start) < 0) ? a_start : b_start;
	uint32_t a_from = a_start - origin;
	uint32_t a_to = a_end - origin;
	uint32_t b_from = b_start - origin;
	uint32_t b_to = b_end - origin;

	return (a_from < b_to) && (b_from < a_to);
} /* i2c_timing_overlapped() */

bool i2c_timing_harness_recover(void)
{
	uint32_t bound_ms = (uint32_t)CONFIG_I2C_FAULT_TEST_TIMEOUT_MS;

	if (!harness_stuck) {
		return true;
	}

	if (k_sem_take(&work_done, K_MSEC(bound_ms)) != 0) {
		return false;
	}

	harness_stuck = false;

	return true;
} /* i2c_timing_harness_recover() */

int i2c_timing_run_bounded(i2c_fault_job_fn fn, void *arg,
			   struct i2c_fault_outcome *out)
{
	int ret = i2c_timing_submit(fn, arg);

	if (ret != 0) {
		out->ret = 0;
		out->elapsed_us =
			(uint32_t)CONFIG_I2C_FAULT_TEST_TIMEOUT_MS *
			USEC_PER_MSEC;
		out->start_cycles = 0U;
		out->end_cycles = 0U;
		out->timed_out = true;
		return ret;
	}

	return i2c_timing_collect(out);
} /* i2c_timing_run_bounded() */

bool i2c_timing_harness_stuck(void)
{
	return harness_stuck;
} /* i2c_timing_harness_stuck() */

void i2c_timing_run_or_fail(i2c_fault_job_fn fn, void *arg,
			    const char *condition,
			    struct i2c_fault_outcome *out)
{
	(void)i2c_timing_run_bounded(fn, arg, out);

	zassert_false(out->timed_out,
		      "%s: transfer did not return within %d ms; the driver "
		      "hung rather than reporting an error",
		      condition, CONFIG_I2C_FAULT_TEST_TIMEOUT_MS);
} /* i2c_timing_run_or_fail() */
```

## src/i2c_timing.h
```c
/*
 * SPDX-FileCopyrightText: Copyright The Zephyr Project Contributors
 * SPDX-License-Identifier: Apache-2.0
 */

/*
 * Cycle-counter instrumentation and the bounded-execution harness.
 *
 * Timing uses k_cycle_get_32() and sys_clock_hw_cycles_per_sec(), the same
 * primitives the bit-banged controller uses for its own bit timing, so it is
 * available on every platform and needs no peripheral.
 *
 * The bounded harness exists because the principal defect this suite looks
 * for is a driver that never returns. Measuring elapsed time in the calling
 * thread cannot detect that, since the calling thread is the one that is
 * stuck. Transfers therefore run on a worker thread that the test thread
 * waits on with a timeout.
 */

#ifndef I2C_TIMING_H_
#define I2C_TIMING_H_

#include <stdbool.h>
#include <stdint.h>

#include <zephyr/kernel.h>

/** A measured interval, in cycle-counter ticks. */
struct i2c_timing_span {
	uint32_t start;
	uint32_t end;
};

/** Result of running a job under the time bound. */
struct i2c_fault_outcome {
	/** Value the job returned, meaningless when timed_out is set. */
	int ret;
	/** Wall time the job took, or the bound itself when it timed out. */
	uint32_t elapsed_us;
	/** Cycle counter sampled immediately before the job ran. */
	uint32_t start_cycles;
	/** Cycle counter sampled immediately after the job returned. */
	uint32_t end_cycles;
	/** Set when the job did not return within the bound. */
	bool timed_out;
};

/**
 * Report whether two measured intervals overlapped.
 *
 * Used by the conditions that need two transfers to have been in flight at
 * once. Overlap is arranged as well as it can be and then checked, rather
 * than assumed, so that a condition which failed to produce it skips instead
 * of passing on no evidence.
 *
 * @param a_start cycle count at the start of the first interval.
 * @param a_end   cycle count at the end of the first interval.
 * @param b_start cycle count at the start of the second interval.
 * @param b_end   cycle count at the end of the second interval.
 *
 * @return true if the intervals intersect.
 */
bool i2c_timing_overlapped(uint32_t a_start, uint32_t a_end, uint32_t b_start,
			   uint32_t b_end);

/** Signature of a job the bounded harness runs. */
typedef int (*i2c_fault_job_fn)(void *arg);

/** Sample the cycle counter at the start of an interval. */
void i2c_timing_begin(struct i2c_timing_span *span);

/** Sample the cycle counter at the end of an interval. */
void i2c_timing_end(struct i2c_timing_span *span);

/** Length of a measured interval in microseconds. */
uint32_t i2c_timing_us(const struct i2c_timing_span *span);

/** Print a measurement through the ztest output. */
void i2c_timing_report(const char *what, uint32_t value, const char *unit);

/**
 * Start the worker thread the bounded harness runs jobs on.
 *
 * Called once from the suite setup. Safe to call again; later calls do
 * nothing.
 */
void i2c_timing_harness_start(void);

/**
 * Run @p fn on the worker thread and wait for it under the time bound.
 *
 * The bound is CONFIG_I2C_FAULT_TEST_TIMEOUT_MS. A job that outruns it is
 * left running, because aborting a thread stuck inside a controller driver
 * would leave the peripheral in an unknown state and make every later result
 * meaningless. The suite records the hang instead and skips what follows.
 *
 * @param[in]  fn  job to run.
 * @param[in]  arg opaque argument handed to @p fn.
 * @param[out] out result and elapsed time.
 *
 * @retval 0 if the job returned within the bound.
 * @retval -ETIMEDOUT if it did not.
 */
int i2c_timing_run_bounded(i2c_fault_job_fn fn, void *arg,
			   struct i2c_fault_outcome *out);

/**
 * Hand @p fn to the worker thread and return without waiting.
 *
 * Used by the conditions that must act on the bus while a transfer is in
 * flight, such as releasing a held line partway through an attempt. Must be
 * paired with i2c_timing_collect().
 *
 * @param fn  job to run.
 * @param arg opaque argument handed to @p fn.
 *
 * @retval 0 on success.
 * @retval -ETIMEDOUT if an earlier job never returned.
 */
int i2c_timing_submit(i2c_fault_job_fn fn, void *arg);

/**
 * Wait under the time bound for the job handed over by i2c_timing_submit().
 *
 * @param[out] out result and elapsed time.
 *
 * @retval 0 if the job returned within the bound.
 * @retval -ETIMEDOUT if it did not.
 */
int i2c_timing_collect(struct i2c_fault_outcome *out);

/**
 * Give a job that outran the bound a second chance to finish.
 *
 * Called after the stimulus that caused the stall has been removed, for
 * instance once a held bus line has been released. If the worker comes back
 * the harness is usable again and the tests that follow are not skipped.
 *
 * @return true if the worker returned and the harness is usable again.
 */
bool i2c_timing_harness_recover(void);

/**
 * Report whether a job has ever outrun the bound.
 *
 * Once that has happened the worker thread is parked inside a controller
 * driver and no later measurement means anything, so the suite skips the
 * tests that follow rather than reporting them as passes.
 *
 * @return true if a job never returned.
 */
bool i2c_timing_harness_stuck(void);

/**
 * Run @p fn under the bound and fail the test if it does not return.
 *
 * @param[in]  fn        job to run.
 * @param[in]  arg       opaque argument handed to @p fn.
 * @param[in]  condition condition identifier used in the failure message.
 * @param[out] out       result and elapsed time.
 */
void i2c_timing_run_or_fail(i2c_fault_job_fn fn, void *arg,
			    const char *condition,
			    struct i2c_fault_outcome *out);

#endif /* I2C_TIMING_H_ */
```
